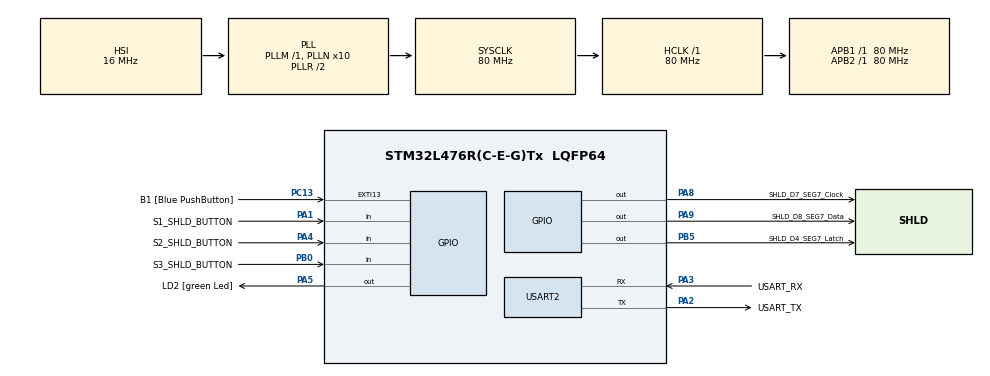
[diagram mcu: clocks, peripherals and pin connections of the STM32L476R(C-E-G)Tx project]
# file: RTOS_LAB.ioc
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FREERTOS.Mutexes01=Mutex01,Dynamic,NULL
FREERTOS.Queues01=customerQueue,421,uint64_t,0,Dynamic,NULL,NULL
FREERTOS.Tasks01=updateSegment,32,128,StartUpdateSegment,Default,NULL,Dynamic,NULL,NULL;genCustomer,48,128,StartGenCustomerTask,Default,NULL,Dynamic,NULL,NULL;teller01,48,128,StartTeller01,Default,NULL,Dynamic,NULL,NULL;teller02,48,128,StartTeller02,Default,NULL,Dynamic,NULL,NULL;teller03,48,128,StartTeller03,Default,NULL,Dynamic,NULL,NULL;simMonitorInfo,24,128,StartSimMonitorInfo,Default,NULL,Dynamic,NULL,NULL
FREERTOS.configTOTAL_HEAP_SIZE=10000
FREERTOS.configUSE_IDLE_HOOK=1
FREERTOS.configUSE_NEWLIB_REENTRANT=1
Mcu.Family=STM32L4
Mcu.Name=STM32L476R(C-E-G)Tx
Mcu.Package=LQFP64
NVIC.PriorityGroup=NVIC_PRIORITYGROUP_4
NVIC.TIM6_DAC_IRQn=true\:15\:0\:false\:false\:true\:false\:false\:true\:true
NVIC.TimeBase=TIM6_DAC_IRQn
NVIC.TimeBaseIP=TIM6
PA1.GPIO_Label=S1_SHLD_BUTTON
PA1.GPIO_PuPd=GPIO_PULLUP
PA1.Signal=GPIO_Input
PA13\ (JTMS-SWDIO).GPIO_Label=TMS
PA13\ (JTMS-SWDIO).Mode=Serial_Wire
PA13\ (JTMS-SWDIO).Signal=SYS_JTMS-SWDIO
PA14\ (JTCK-SWCLK).GPIO_Label=TCK
PA14\ (JTCK-SWCLK).Mode=Serial_Wire
PA14\ (JTCK-SWCLK).Signal=SYS_JTCK-SWCLK
PA2.GPIO_Label=USART_TX
PA2.GPIO_Mode=GPIO_MODE_AF_PP
PA2.GPIO_PuPd=GPIO_NOPULL
PA2.GPIO_Speed=GPIO_SPEED_FREQ_VERY_HIGH
PA2.Mode=Asynchronous
PA2.Signal=USART2_TX
PA3.GPIO_Label=USART_RX
PA3.GPIO_Mode=GPIO_MODE_AF_PP
PA3.GPIO_PuPd=GPIO_NOPULL
PA3.GPIO_Speed=GPIO_SPEED_FREQ_VERY_HIGH
PA3.Mode=Asynchronous
PA3.Signal=USART2_RX
PA4.GPIO_Label=S2_SHLD_BUTTON
PA4.GPIO_PuPd=GPIO_PULLUP
PA4.Signal=GPIO_Input
PA5.GPIO_Label=LD2 [green Led]
PA5.GPIO_ModeDefaultOutputPP=GPIO_MODE_OUTPUT_PP
PA5.GPIO_PuPd=GPIO_NOPULL
PA5.GPIO_Speed=GPIO_SPEED_FREQ_LOW
PA5.Signal=GPIO_Output
PA8.GPIO_Label=SHLD_D7_SEG7_Clock
PA8.GPIO_Speed=GPIO_SPEED_FREQ_MEDIUM
PA8.Signal=GPIO_Output
PA9.GPIO_Label=SHLD_D8_SEG7_Data
PA9.GPIO_Speed=GPIO_SPEED_FREQ_MEDIUM
PA9.Signal=GPIO_Output
PB0.GPIO_Label=S3_SHLD_BUTTON
PB0.GPIO_PuPd=GPIO_PULLUP
PB0.Signal=GPIO_Input
PB3\ (JTDO-TRACESWO).GPIO_Label=SWO
PB3\ (JTDO-TRACESWO).Signal=SYS_JTDO-SWO
PB5.GPIO_Label=SHLD_D4_SEG7_Latch
PB5.GPIO_Speed=GPIO_SPEED_FREQ_MEDIUM
PB5.Signal=GPIO_Output
PC13.GPIO_Label=B1 [Blue PushButton]
PC13.GPIO_ModeDefaultEXTI=GPIO_MODE_IT_FALLING
PC13.GPIO_PuPd=GPIO_NOPULL
PC13.Signal=GPXTI13
PC14-OSC32_IN\ (PC14).Mode=LSE-External-Oscillator
PC14-OSC32_IN\ (PC14).Signal=RCC_OSC32_IN
PC15-OSC32_OUT\ (PC15).Mode=LSE-External-Oscillator
PC15-OSC32_OUT\ (PC15).Signal=RCC_OSC32_OUT
PH0-OSC_IN\ (PH0).Signal=RCC_OSC_IN
PH1-OSC_OUT\ (PH1).Signal=RCC_OSC_OUT
ProjectManager.HeapSize=0x200
ProjectManager.StackSize=0x400
ProjectManager.TargetToolchain=STM32CubeIDE
RCC.ADCFreq_Value=64000000
RCC.AHBFreq_Value=80000000
RCC.APB1Freq_Value=80000000
RCC.APB1TimFreq_Value=80000000
RCC.APB2Freq_Value=80000000
RCC.APB2TimFreq_Value=80000000
RCC.CortexFreq_Value=80000000
RCC.HCLKFreq_Value=80000000
RCC.HSE_VALUE=8000000
RCC.HSI_VALUE=16000000
RCC.MSI_VALUE=4000000
RCC.PLLN=10
RCC.PLLSourceVirtual=RCC_PLLSOURCE_HSI
RCC.PREFETCH_ENABLE=1
RCC.SYSCLKFreq_VALUE=80000000
RCC.SYSCLKSource=RCC_SYSCLKSOURCE_PLLCLK
RCC.USBFreq_Value=64000000
RCC.VCOOutputFreq_Value=160000000
USART2.VirtualMode-Asynchronous=VM_ASYNC
VP_FREERTOS_VS_CMSIS_V2.Mode=CMSIS_V2
VP_SYS_VS_tim6.Mode=TIM6
VP_TIM2_VS_ClockSourceINT.Mode=Internal
board=NUCLEO-L476RG

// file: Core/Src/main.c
/* USER CODE BEGIN Header */
/**
  ******************************************************************************
  * @file           : main.c
  * @brief          : Main program body
  ******************************************************************************
  * @attention
  *
  * Copyright (c) 2023 STMicroelectronics.
  * All rights reserved.
  *
  * This software is licensed under terms that can be found in the LICENSE file
  * in the root directory of this software component.
  * If no LICENSE file comes with this software, it is provided AS-IS.
  *
  ******************************************************************************
  */
/* USER CODE END Header */
#include "main.h"
#include "cmsis_os.h"

/* USER CODE BEGIN Includes */
#include <stdio.h>
#include <inttypes.h>
#include <stdbool.h>

#include "rng.h"
#include "info.h"
/* USER CODE END Includes */

/* USER CODE BEGIN PM */
#define SIM_MIN_TO_MS(minutes) ((minutes) * (100UL))
#define TIME_IN_WORK_DAY_MIN ((7*60UL))
#define TIME_IN_WORK_DAY_MS (SIM_MIN_TO_MS(TIME_IN_WORK_DAY_MIN))

#define MS_TO_SIM_SEC(ms) (((ms) * 3) / 5UL)
#define MS_TO_SIM_MIN(ms) ((ms) / 100UL)
#define MS_TO_SIM_HOURS(ms) ((ms) / (100*60UL))

#define TELLER01_FORCE_BREAK_BUTTON_PORT (S1_SHLD_BUTTON_GPIO_Port)
#define TELLER02_FORCE_BREAK_BUTTON_PORT (S2_SHLD_BUTTON_GPIO_Port)
#define TELLER03_FORCE_BREAK_BUTTON_PORT (S3_SHLD_BUTTON_GPIO_Port)

#define TELLER01_FORCE_BREAK_BUTTON_PIN (S1_SHLD_BUTTON_Pin)
#define TELLER02_FORCE_BREAK_BUTTON_PIN (S2_SHLD_BUTTON_Pin)
#define TELLER03_FORCE_BREAK_BUTTON_PIN (S3_SHLD_BUTTON_Pin)

#define FORCE_BREAK_BUTTON_PRESSED (GPIO_PIN_RESET)

#define NUM_SEGMENT_DIGITS (4)

#define MAX(a,b) \
	({ __typeof__ (a) _a = (a); \
	   __typeof__ (b) _b = (b); \
	 _a > _b ? _a : _b; })

#define MIN(a,b) \
	({ __typeof__ (a) _a = (a); \
	   __typeof__ (b) _b = (b); \
	 _a < _b ? _a : _b; })

/* USER CODE END PM */

TIM_HandleTypeDef htim2;

UART_HandleTypeDef huart2;

/* Definitions for updateSegment */
osThreadId_t updateSegmentHandle;
const osThreadAttr_t updateSegment_attributes = {
  .name = "updateSegment",
  .stack_size = 128 * 4,
  .priority = (osPriority_t) osPriorityAboveNormal,
};
/* Definitions for genCustomer */
osThreadId_t genCustomerHandle;
const osThreadAttr_t genCustomer_attributes = {
  .name = "genCustomer",
  .stack_size = 128 * 4,
  .priority = (osPriority_t) osPriorityRealtime,
};
/* Definitions for teller01 */
osThreadId_t teller01Handle;
const osThreadAttr_t teller01_attributes = {
  .name = "teller01",
  .stack_size = 128 * 4,
  .priority = (osPriority_t) osPriorityRealtime,
};
/* Definitions for teller02 */
osThreadId_t teller02Handle;
const osThreadAttr_t teller02_attributes = {
  .name = "teller02",
  .stack_size = 128 * 4,
  .priority = (osPriority_t) osPriorityRealtime,
};
/* Definitions for teller03 */
osThreadId_t teller03Handle;
const osThreadAttr_t teller03_attributes = {
  .name = "teller03",
  .stack_size = 128 * 4,
  .priority = (osPriority_t) osPriorityRealtime,
};
/* Definitions for simMonitorInfo */
osThreadId_t simMonitorInfoHandle;
const osThreadAttr_t simMonitorInfo_attributes = {
  .name = "simMonitorInfo",
  .stack_size = 128 * 4,
  .priority = (osPriority_t) osPriorityNormal,
};
/* Definitions for customerQueue */
osMessageQueueId_t customerQueueHandle;
const osMessageQueueAttr_t customerQueue_attributes = {
  .name = "customerQueue"
};
/* Definitions for Mutex01 */
osMutexId_t Mutex01Handle;
const osMutexAttr_t Mutex01_attributes = {
  .name = "Mutex01"
};
/* USER CODE BEGIN PV */
bool work_is_done = false;

uint32_t SIMULATED_TIME_START;

// 7-segment display digits.
const uint8_t SEGMENT_DIGIT[4] = {
		0b00001000, // Rightmost
		0b00000100, // Left of rightmost
		0b00000010, // Right of leftmost
		0b00000001	// Leftmost
};

// Display a single digit number.
const uint8_t SEGMENT_NUM[10] = {
		0b11000000, // 0
		0b11111001, // 1
		0b10100100, // 2
		0b10110000, // 3
		0b10011001, // 4
		0b10010010, // 5
		0b10000010, // 6
		0b11111000, // 7
		0b10000000, // 8
		0b10010000  // 9
};

// Converts teller's status to a string for display purposes.
const char* STATUS_TO_STR[5] = {"working", "waiting", "on break", "done for the day", "didn't show up..."};

// Stores all info related to tellers.
TELLER_INFO teller01_info;
TELLER_INFO teller02_info;
TELLER_INFO teller03_info;

// Used by monitor task.
uint8_t monitor_buffer[500];
int monitor_data_size;

/* USER CODE END PV */

void SystemClock_Config(void);
static void MX_GPIO_Init(void);
static void MX_USART2_UART_Init(void);
static void MX_TIM2_Init(void);
void StartUpdateSegment(void *argument);
void StartGenCustomerTask(void *argument);
void StartTeller01(void *argument);
void StartTeller02(void *argument);
void StartTeller03(void *argument);
void StartSimMonitorInfo(void *argument);

/* USER CODE BEGIN PFP */
void teller_functionality(TELLER_INFO* teller_info, osThreadId_t tellerHandler, GPIO_TypeDef* TELLER_GPIO_PORT, uint16_t TELLER_GPIO_PIN);
/* USER CODE END PFP */

/* USER CODE BEGIN 0 */

/**
* @brief Sets 7-segment pin values using a shift register.
*
* @param data_port: The port of the GPIO pin associated with the data of the display.
* @param data_pin: The GPIO data pin.
* @param clock_port: The port of the GPIO pin associated with the clock used to operate shift register.
* @param clock_pin: The GPIO clock pin.
* @param value: The value to shift into the data pin.
* @retval None
*/
static inline void shiftOut(GPIO_TypeDef* data_port, uint16_t data_pin, GPIO_TypeDef* clock_port, uint16_t clock_pin, uint8_t value) {
	for(int ii=0x80; ii; ii>>=1) {
		HAL_GPIO_WritePin(clock_port, clock_pin, GPIO_PIN_RESET);
		HAL_GPIO_WritePin(data_port, data_pin, (value&ii)!=0);
		HAL_GPIO_WritePin(clock_port, clock_pin, GPIO_PIN_SET);
	}
}

/**
* @brief Helper function which activates appropriate segments for a particular digit in the 7-segment display.
*
* @param digit: The digit to set (four in total)	.
* @param value: The value to set.
* @retval None
*/
static inline void set_segment_digit(uint8_t digit, uint8_t value)
{
	HAL_GPIO_WritePin(SHLD_D4_SEG7_Latch_GPIO_Port, SHLD_D4_SEG7_Latch_Pin, GPIO_PIN_RESET);
	shiftOut(SHLD_D8_SEG7_Data_GPIO_Port, SHLD_D8_SEG7_Data_Pin, SHLD_D7_SEG7_Clock_GPIO_Port, SHLD_D7_SEG7_Clock_Pin, value);
	shiftOut(SHLD_D8_SEG7_Data_GPIO_Port, SHLD_D8_SEG7_Data_Pin, SHLD_D7_SEG7_Clock_GPIO_Port, SHLD_D7_SEG7_Clock_Pin, digit);
	HAL_GPIO_WritePin(SHLD_D4_SEG7_Latch_GPIO_Port, SHLD_D4_SEG7_Latch_Pin, GPIO_PIN_SET);
}

/*
* @brief Sets the 7-segment display value.
*
* @param num: The four digit number to set the display to (MAX: 9999).
* @retval None
*/
void set_segment_display(uint16_t num)
{
	uint8_t digit = 0;
	uint8_t value;
	while(digit < NUM_SEGMENT_DIGITS)
	{
		value = num % 10;
		set_segment_digit(SEGMENT_DIGIT[digit], SEGMENT_NUM[value]);
		num /= 10;
		digit++;
	}
	set_segment_digit(0, 0);
}

/* USER CODE END 0 */

int main(void)
{

  /* MCU Configuration--------------------------------------------------------*/

  /* Reset of all peripherals, Initializes the Flash interface and the Systick. */
  HAL_Init();

  /* USER CODE BEGIN Init */

  // Initialize tellers
  init_teller(&teller01_info);
  init_teller(&teller02_info);
  init_teller(&teller03_info);

  /* USER CODE END Init */

  /* Configure the system clock */
  SystemClock_Config();

  /* Initialize all configured peripherals */
  MX_GPIO_Init();
  MX_USART2_UART_Init();
  MX_TIM2_Init();

  /* Init scheduler */
  osKernelInitialize();
  /* Create the mutex(es) */
  /* creation of Mutex01 */
  Mutex01Handle = osMutexNew(&Mutex01_attributes);

  /* Create the queue(s) */
  /* creation of customerQueue */
  customerQueueHandle = osMessageQueueNew (421, sizeof(uint64_t), &customerQueue_attributes);

  /* Create the thread(s) */
  /* creation of updateSegment */
  updateSegmentHandle = osThreadNew(StartUpdateSegment, NULL, &updateSegment_attributes);

  /* creation of genCustomer */
  genCustomerHandle = osThreadNew(StartGenCustomerTask, NULL, &genCustomer_attributes);

  /* creation of teller01 */
  teller01Handle = osThreadNew(StartTeller01, NULL, &teller01_attributes);

  /* creation of teller02 */
  teller02Handle = osThreadNew(StartTeller02, NULL, &teller02_attributes);

  /* creation of teller03 */
  teller03Handle = osThreadNew(StartTeller03, NULL, &teller03_attributes);

  /* creation of simMonitorInfo */
  simMonitorInfoHandle = osThreadNew(StartSimMonitorInfo, NULL, &simMonitorInfo_attributes);

  /* USER CODE BEGIN RTOS_THREADS */
  /* add threads, ... */

  // Grab reference point to get an accurate reading of simulated time.
  SIMULATED_TIME_START = HAL_GetTick();

  /* ----- SUSPEND THREADS -----*/
//  osThreadSuspend(genCustomerHandle);
//  osThreadSuspend(teller01Handle);
//  osThreadSuspend(teller02Handle);
//  osThreadSuspend(teller03Handle);
//  osThreadSuspend(updateSegmentHandle);
//  osThreadSuspend(simMonitorInfoHandle);

  /* USER CODE END RTOS_THREADS */

  /* Start scheduler */
  osKernelStart();

  /* We should never get here as control is now taken by the scheduler */
  /* Infinite loop */
  while (1)
  {

  }
}

void SystemClock_Config(void)
{
  RCC_OscInitTypeDef RCC_OscInitStruct = {0};
  RCC_ClkInitTypeDef RCC_ClkInitStruct = {0};

  /** Configure the main internal regulator output voltage
  */
  if (HAL_PWREx_ControlVoltageScaling(PWR_REGULATOR_VOLTAGE_SCALE1) != HAL_OK)
  {
    Error_Handler();
  }

  /** Initializes the RCC Oscillators according to the specified parameters
  * in the RCC_OscInitTypeDef structure.
  */
  RCC_OscInitStruct.OscillatorType = RCC_OSCILLATORTYPE_HSI;
  RCC_OscInitStruct.HSIState = RCC_HSI_ON;
  RCC_OscInitStruct.HSICalibrationValue = RCC_HSICALIBRATION_DEFAULT;
  RCC_OscInitStruct.PLL.PLLState = RCC_PLL_ON;
  RCC_OscInitStruct.PLL.PLLSource = RCC_PLLSOURCE_HSI;
  RCC_OscInitStruct.PLL.PLLM = 1;
  RCC_OscInitStruct.PLL.PLLN = 10;
  RCC_OscInitStruct.PLL.PLLP = RCC_PLLP_DIV7;
  RCC_OscInitStruct.PLL.PLLQ = RCC_PLLQ_DIV2;
  RCC_OscInitStruct.PLL.PLLR = RCC_PLLR_DIV2;
  if (HAL_RCC_OscConfig(&RCC_OscInitStruct) != HAL_OK)
  {
    Error_Handler();
  }

  /** Initializes the CPU, AHB and APB buses clocks
  */
  RCC_ClkInitStruct.ClockType = RCC_CLOCKTYPE_HCLK|RCC_CLOCKTYPE_SYSCLK
                              |RCC_CLOCKTYPE_PCLK1|RCC_CLOCKTYPE_PCLK2;
  RCC_ClkInitStruct.SYSCLKSource = RCC_SYSCLKSOURCE_PLLCLK;
  RCC_ClkInitStruct.AHBCLKDivider = RCC_SYSCLK_DIV1;
  RCC_ClkInitStruct.APB1CLKDivider = RCC_HCLK_DIV1;
  RCC_ClkInitStruct.APB2CLKDivider = RCC_HCLK_DIV1;

  if (HAL_RCC_ClockConfig(&RCC_ClkInitStruct, FLASH_LATENCY_4) != HAL_OK)
  {
    Error_Handler();
  }
}

static void MX_TIM2_Init(void)
{

  TIM_ClockConfigTypeDef sClockSourceConfig = {0};
  TIM_MasterConfigTypeDef sMasterConfig = {0};

  htim2.Instance = TIM2;
  htim2.Init.Prescaler = 0;
  htim2.Init.CounterMode = TIM_COUNTERMODE_UP;
  htim2.Init.Period = 4294967295;
  htim2.Init.ClockDivision = TIM_CLOCKDIVISION_DIV1;
  htim2.Init.AutoReloadPreload = TIM_AUTORELOAD_PRELOAD_DISABLE;
  if (HAL_TIM_Base_Init(&htim2) != HAL_OK)
  {
    Error_Handler();
  }
  sClockSourceConfig.ClockSource = TIM_CLOCKSOURCE_INTERNAL;
  if (HAL_TIM_ConfigClockSource(&htim2, &sClockSourceConfig) != HAL_OK)
  {
    Error_Handler();
  }
  sMasterConfig.MasterOutputTrigger = TIM_TRGO_RESET;
  sMasterConfig.MasterSlaveMode = TIM_MASTERSLAVEMODE_DISABLE;
  if (HAL_TIMEx_MasterConfigSynchronization(&htim2, &sMasterConfig) != HAL_OK)
  {
    Error_Handler();
  }

}

static void MX_USART2_UART_Init(void)
{

  huart2.Instance = USART2;
  huart2.Init.BaudRate = 115200;
  huart2.Init.WordLength = UART_WORDLENGTH_8B;
  huart2.Init.StopBits = UART_STOPBITS_1;
  huart2.Init.Parity = UART_PARITY_NONE;
  huart2.Init.Mode = UART_MODE_TX_RX;
  huart2.Init.HwFlowCtl = UART_HWCONTROL_NONE;
  huart2.Init.OverSampling = UART_OVERSAMPLING_16;
  huart2.Init.OneBitSampling = UART_ONE_BIT_SAMPLE_DISABLE;
  huart2.AdvancedInit.AdvFeatureInit = UART_ADVFEATURE_NO_INIT;
  if (HAL_UART_Init(&huart2) != HAL_OK)
  {
    Error_Handler();
  }

}

static void MX_GPIO_Init(void)
{
  GPIO_InitTypeDef GPIO_InitStruct = {0};

  /* GPIO Ports Clock Enable */
  __HAL_RCC_GPIOC_CLK_ENABLE();
  __HAL_RCC_GPIOH_CLK_ENABLE();
  __HAL_RCC_GPIOA_CLK_ENABLE();
  __HAL_RCC_GPIOB_CLK_ENABLE();

  /*Configure GPIO pin Output Level */
  HAL_GPIO_WritePin(GPIOA, LD2_Pin|SHLD_D7_SEG7_Clock_Pin|SHLD_D8_SEG7_Data_Pin, GPIO_PIN_RESET);

  /*Configure GPIO pin Output Level */
  HAL_GPIO_WritePin(SHLD_D4_SEG7_Latch_GPIO_Port, SHLD_D4_SEG7_Latch_Pin, GPIO_PIN_RESET);

  /*Configure GPIO pin : B1_Pin */
  GPIO_InitStruct.Pin = B1_Pin;
  GPIO_InitStruct.Mode = GPIO_MODE_IT_FALLING;
  GPIO_InitStruct.Pull = GPIO_NOPULL;
  HAL_GPIO_Init(B1_GPIO_Port, &GPIO_InitStruct);

  /*Configure GPIO pins : S1_SHLD_BUTTON_Pin S2_SHLD_BUTTON_Pin */
  GPIO_InitStruct.Pin = S1_SHLD_BUTTON_Pin|S2_SHLD_BUTTON_Pin;
  GPIO_InitStruct.Mode = GPIO_MODE_INPUT;
  GPIO_InitStruct.Pull = GPIO_PULLUP;
  HAL_GPIO_Init(GPIOA, &GPIO_InitStruct);

  /*Configure GPIO pin : LD2_Pin */
  GPIO_InitStruct.Pin = LD2_Pin;
  GPIO_InitStruct.Mode = GPIO_MODE_OUTPUT_PP;
  GPIO_InitStruct.Pull = GPIO_NOPULL;
  GPIO_InitStruct.Speed = GPIO_SPEED_FREQ_LOW;
  HAL_GPIO_Init(LD2_GPIO_Port, &GPIO_InitStruct);

  /*Configure GPIO pin : S3_SHLD_BUTTON_Pin */
  GPIO_InitStruct.Pin = S3_SHLD_BUTTON_Pin;
  GPIO_InitStruct.Mode = GPIO_MODE_INPUT;
  GPIO_InitStruct.Pull = GPIO_PULLUP;
  HAL_GPIO_Init(S3_SHLD_BUTTON_GPIO_Port, &GPIO_InitStruct);

  /*Configure GPIO pins : SHLD_D7_SEG7_Clock_Pin SHLD_D8_SEG7_Data_Pin */
  GPIO_InitStruct.Pin = SHLD_D7_SEG7_Clock_Pin|SHLD_D8_SEG7_Data_Pin;
  GPIO_InitStruct.Mode = GPIO_MODE_OUTPUT_PP;
  GPIO_InitStruct.Pull = GPIO_NOPULL;
  GPIO_InitStruct.Speed = GPIO_SPEED_FREQ_MEDIUM;
  HAL_GPIO_Init(GPIOA, &GPIO_InitStruct);

  /*Configure GPIO pin : SHLD_D4_SEG7_Latch_Pin */
  GPIO_InitStruct.Pin = SHLD_D4_SEG7_Latch_Pin;
  GPIO_InitStruct.Mode = GPIO_MODE_OUTPUT_PP;
  GPIO_InitStruct.Pull = GPIO_NOPULL;
  GPIO_InitStruct.Speed = GPIO_SPEED_FREQ_MEDIUM;
  HAL_GPIO_Init(SHLD_D4_SEG7_Latch_GPIO_Port, &GPIO_InitStruct);

}

/* USER CODE BEGIN 4 */

/**
* @brief Implements the teller's functionality as described in the lab outline.
*
* @param teller_info: Data structure holding information about the teller - used to calculate statistics later.
* @param tellerHandler: Handler for the task responsible for the specific instance of teller.
* @param TELLER_GPIO_PORT: The port of the GPIO pin which controls the forced break functionality.
* @param TELLER_GPIO_PIN: The GPIO pin which holds the value of the forced break button.n.
* @retval None
*/
void teller_functionality(TELLER_INFO* teller_info, osThreadId_t tellerHandler, GPIO_TypeDef* TELLER_GPIO_PORT, uint16_t TELLER_GPIO_PIN)
{
	CUSTOMER_INFO current_customer;
	uint32_t customer_time_spent_in_queue;
	uint32_t break_time;
	uint32_t forced_break_start_time;

	uint32_t pre_wait_reference;
	uint32_t wait_discrepancy;
	uint32_t natural_break_start_time;

	for(;;)
	{
		// Teller starts working.
		teller_info->status = status_working;

		// Stop teller when the day ends.
		if((osMessageQueueGetCount(customerQueueHandle) == 0) && (HAL_GetTick() >= (TIME_IN_WORK_DAY_MS + SIMULATED_TIME_START)))
		{
			teller_info->status = status_done_for_the_day;
			osThreadSuspend(tellerHandler);
		}

		/* --- First step is to obtain a customer --- */

		// [A: 1/2] We assume the teller will have to wait for a customer...
		teller_info->status = status_waiting;

		// [A: 2/2] ...so we grab a reference snapshot of the current time to calculate total wait later.
		pre_wait_reference = HAL_GetTick();

		// Attempt to grab the next customer from the queue.
		osMessageQueueGet(customerQueueHandle, &current_customer, 0, osWaitForever);

		// If the teller was able to unblock, it means a customer was successfully obtained -> teller is no longer waiting
		wait_discrepancy = HAL_GetTick() - pre_wait_reference;
		teller_info->status = status_working;

		// This is time the customer had to wait in the queue before being serviced.
		customer_time_spent_in_queue = HAL_GetTick() - current_customer.time_entered_queue;

		// [B: 1/2] If the time discrepancy is too high, it probably means the teller had to wait...
		if(wait_discrepancy > TELLER_WAIT_TOLERANCE)
		{
			// [B: 2/2] ...so update the teller's wait statistics.
			teller_info->total_wait_time += (wait_discrepancy - TELLER_WAIT_TOLERANCE);
			teller_info->total_waits_taken++;
			teller_info->max_wait_time = MAX(teller_info->max_wait_time, (wait_discrepancy - TELLER_WAIT_TOLERANCE));
		}

		/* --- Move on to process customer --- */

		// Record statistic about customer.
		teller_info->total_customers_serviced++;
		teller_info->total_service_time += current_customer.service_time;
		teller_info->max_service_time = MAX(teller_info->max_service_time, current_customer.service_time);

		// Access global variables to update customer queue time statistics.
		osMutexAcquire(Mutex01Handle, osWaitForever);
		max_customer_queue_time = MAX(max_customer_queue_time, customer_time_spent_in_queue);
		total_customer_queue_time += customer_time_spent_in_queue;
		osMutexRelease(Mutex01Handle);

		// Simulate time spent servicing customer.
		osDelay(current_customer.service_time);
		bool natural_break_flag = false;

		/* --- Check for breaks only after finishing with a customer --- */
		if(HAL_GetTick() >= teller_info->next_available_natural_break_time){ // natural break
		  natural_break_flag = true;
		  // Generate a random break duration and update statistics.
		  break_time = rand_range(MIN_TELLER_BREAK_TIME, MAX_TELLER_BREAK_TIME);

		  // Generate next available break.
		  teller_info->next_available_natural_break_time = HAL_GetTick() + rand_range(MIN_TELLER_BREAK_WAIT, MAX_TELLER_BREAK_WAIT);

		  // Go on break.
		  teller_info->status = status_on_break;
		  natural_break_start_time = HAL_GetTick();
		  uint32_t natural_break_end_time = natural_break_start_time + break_time;
		  while(HAL_GetTick() < natural_break_end_time && HAL_GPIO_ReadPin(TELLER_GPIO_PORT, TELLER_GPIO_PIN) != FORCE_BREAK_BUTTON_PRESSED){
			osDelay(1); //
		  }
		  if(HAL_GetTick() >= natural_break_end_time){
			//finished natural break
			natural_break_flag = false;
			teller_info->max_break_time = MAX(teller_info->max_break_time, break_time);
			teller_info->min_break_time = MIN(teller_info->min_break_time, break_time);
			teller_info->total_break_time += break_time;
			teller_info->total_breaks_taken++;
			teller_info->status = status_working;
		  }
		}
		// Forced break
		if(HAL_GPIO_ReadPin(TELLER_GPIO_PORT, TELLER_GPIO_PIN) == FORCE_BREAK_BUTTON_PRESSED)
		{
		  // Grab reference point
		  forced_break_start_time = HAL_GetTick();
		  teller_info->status = status_on_break;

		  // Stay until the forced break is released
		  while(HAL_GPIO_ReadPin(TELLER_GPIO_PORT, TELLER_GPIO_PIN) == FORCE_BREAK_BUTTON_PRESSED)
		  {
			osDelay(1);
		  }

		  // Break ends.
		  teller_info->status = status_working;

		  // [C: 1/2] Calculate break time and updated statistics...
		  if(natural_break_flag == false){
			break_time = HAL_GetTick() - forced_break_start_time;
			teller_info->max_break_time = MAX(teller_info->max_break_time, break_time);
			teller_info->min_break_time = MIN(teller_info->min_break_time, break_time);
			teller_info->total_break_time += break_time;
			teller_info->total_breaks_taken++;
		  }
		  else{
			natural_break_flag = false;
			break_time = HAL_GetTick() - natural_break_start_time;
			teller_info->max_break_time = MAX(teller_info->max_break_time, break_time);
			teller_info->min_break_time = MIN(teller_info->min_break_time, break_time);
			teller_info->total_break_time += break_time;
			teller_info->total_breaks_taken++;
			teller_info->status = status_working;

		  }

		  // [C: 2/2] ...teller was just on break, so recalculate next available natural break time
		  teller_info->next_available_natural_break_time = HAL_GetTick() + rand_range(MIN_TELLER_BREAK_WAIT, MAX_TELLER_BREAK_WAIT);

		} // break end

	}
}
/* USER CODE END 4 */

/* USER CODE BEGIN Header_StartUpdateSegment */
/**
* @brief Function implementing the updateSegment thread. Displays the current customers queue count on the 7-segment display.
* @param argument: Not used
* @retval None
*/
/* USER CODE END Header_StartUpdateSegment */
void StartUpdateSegment(void *argument)
{
  /* USER CODE BEGIN 5 */
  /* Infinite loop */
  for(;;)
  {
	// Stop generator when the day ends and all work is done.
	bool work_is_done = (osMessageQueueGetCount(customerQueueHandle) == 0) &&
						((eTaskGetState(teller01Handle) == eSuspended) ||
	  					(eTaskGetState(teller02Handle) == eSuspended) ||
						(eTaskGetState(teller03Handle) == eSuspended));

	if(work_is_done && (HAL_GetTick() >= (TIME_IN_WORK_DAY_MS + SIMULATED_TIME_START)))
	{
		osThreadSuspend(updateSegmentHandle);
	}

	// [A: 1/2] Constantly update the 7-segment display...
	set_segment_display(osMessageQueueGetCount(customerQueueHandle));

	// [A: 2/2] ... need short delay for display to stay updated properly.
    osDelay(1);
  }
  /* USER CODE END 5 */
}

/* USER CODE BEGIN Header_StartGenCustomerTask */
/**
* @brief Function implementing the genCustomer thread. Generates customers at intervals specified by the lab outline and
* 	captures statistics needed for later report.
* @param argument: Not used
* @retval None
*/
/* USER CODE END Header_StartGenCustomerTask */
void StartGenCustomerTask(void *argument)
{
  /* USER CODE BEGIN StartGenCustomerTask */

  uint32_t delay_until_next_customer_arrival;
  CUSTOMER_INFO customer_template;

  /* Infinite loop */
  for(;;)
  {
	// Stop generator when the day ends.

	if(HAL_GetTick() >= (TIME_IN_WORK_DAY_MS + SIMULATED_TIME_START))
	{
		osThreadSuspend(genCustomerHandle);
	}

	// New customer arrives after a random time within a set interval.
	delay_until_next_customer_arrival = rand_range(MIN_CUSTOMER_ARRIVAL_DELAY, MAX_CUSTOMER_ARRIVAL_DELAY);

	// Generate a new customer with randomized service time.
	reset_and_init_customer(&customer_template);

	// Send customer to queue to be picked up by tellers.
	osMessageQueuePut(customerQueueHandle, &customer_template, 0U, osWaitForever);

	// Record queue statistics.
	max_customer_queue_depth = MAX(max_customer_queue_depth, osMessageQueueGetCount(customerQueueHandle));

	// Simulate time between customers.
	osDelay(delay_until_next_customer_arrival);
  }

  /* USER CODE END StartGenCustomerTask */
}

/* USER CODE BEGIN Header_StartTeller01 */
/**
* @brief Function implementing the teller01 thread. Shares functionality with other tellers.
* @param argument: Not used
* @retval None
*/
/* USER CODE END Header_StartTeller01 */
void StartTeller01(void *argument)
{
  /* USER CODE BEGIN StartTeller01 */
  /* Infinite loop */

  // All tellers share the same functionality.
  teller_functionality(&teller01_info, teller01Handle, TELLER01_FORCE_BREAK_BUTTON_PORT, TELLER01_FORCE_BREAK_BUTTON_PIN);

  /* USER CODE END StartTeller01 */
}

/* USER CODE BEGIN Header_StartTeller02 */
/**
* @brief Function implementing the teller02 thread. Shares functionality with other tellers.
* @param argument: Not used
* @retval None
*/
/* USER CODE END Header_StartTeller02 */
void StartTeller02(void *argument)
{
  /* USER CODE BEGIN StartTeller02 */
  /* Infinite loop */

  // All tellers share the same functionality.
  teller_functionality(&teller02_info, teller02Handle, TELLER02_FORCE_BREAK_BUTTON_PORT, TELLER02_FORCE_BREAK_BUTTON_PIN);

  /* USER CODE END StartTeller02 */
}

/* USER CODE BEGIN Header_StartTeller03 */
/**
* @brief Function implementing the teller03 thread. Shares functionality with other tellers.
* @param argument: Not used
* @retval None
*/
/* USER CODE END Header_StartTeller03 */
void StartTeller03(void *argument)
{
  /* USER CODE BEGIN StartTeller03 */
  /* Infinite loop */

  // All tellers share the same functionality.
  teller_functionality(&teller03_info, teller03Handle, TELLER03_FORCE_BREAK_BUTTON_PORT, TELLER03_FORCE_BREAK_BUTTON_PIN);

  /* USER CODE END StartTeller03 */
}

/* USER CODE BEGIN Header_StartSimMonitorInfo */
/**
* @brief Function implementing the simMonitorInfo thread. Prints real time info about the status of tellers and customer queue to the
* 	display. Also is responsible for generating the statistics report at the end of the day.
* @param argument: Not used
* @retval None
*/
/* USER CODE END Header_StartSimMonitorInfo */
void StartSimMonitorInfo(void *argument)
{
  /* USER CODE BEGIN StartSimMonitorInfo */
  /* Infinite loop */
  uint32_t sim_min;
  uint32_t sim_hours;
  uint32_t current_time_ms;

  const char* teller01_info_str;
  const char* teller02_info_str;
  const char* teller03_info_str;

  uint32_t total_customers_served;
  uint32_t total_service_time;
  uint32_t total_wait_time;
  uint32_t total_num_waits;

  for(;;)
  {
	current_time_ms = HAL_GetTick();

	sim_hours = MS_TO_SIM_HOURS(current_time_ms);
	sim_min = MS_TO_SIM_MIN(current_time_ms);

	teller01_info_str = STATUS_TO_STR[teller01_info.status];
	teller02_info_str = STATUS_TO_STR[teller02_info.status];
	teller03_info_str = STATUS_TO_STR[teller03_info.status];

	max_customer_queue_depth = MAX(max_customer_queue_depth, osMessageQueueGetCount(customerQueueHandle));

	// [A: 1/2] Build up the real time data...
	monitor_data_size = sprintf((char*)monitor_buffer, "\r\n\r\nCURRENT TIME: %02ld:%02ld%s\r\nCustomers in queue: %ld\r\nTeller01[%d] status: %s\r\nTeller02[%d] status: %s\r\nTeller03[%d] status: %s\r\n\r\n\r\n",
															(((sim_hours + 8) % 12) + 1),
															(sim_min % 60),
															(((sim_hours + 9) % 24) < 12 ? "am" : "pm"),
															osMessageQueueGetCount(customerQueueHandle),
															teller01_info.total_customers_serviced,
															teller01_info_str,
															teller02_info.total_customers_serviced,
															teller02_info_str,
															teller03_info.total_customers_serviced,
															teller03_info_str);

	// [A: 2/2] ... and print it.
	HAL_UART_Transmit(&huart2, monitor_buffer, monitor_data_size, 100U);

	// Work is done when there are no more customers in the queue and all of the tellers are done working.
	bool work_is_done = (osMessageQueueGetCount(customerQueueHandle) == 0) &&
							((eTaskGetState(teller01Handle) == eSuspended) ||
		  					(eTaskGetState(teller02Handle) == eSuspended) ||
							(eTaskGetState(teller03Handle) == eSuspended));

	// Stop when the day ends and all work is done.
	if(work_is_done && (HAL_GetTick() >= (TIME_IN_WORK_DAY_MS + SIMULATED_TIME_START)))
	{
		/* --- At the end of the day, gather all statistics --- */

		monitor_data_size = sprintf((char*)monitor_buffer, "---- WORK DAY STATISTICS ----\r\n\r\n");
		HAL_UART_Transmit(&huart2, monitor_buffer, monitor_data_size, 100U);

		// The total number of customers served during the day.
		total_customers_served = teller01_info.total_customers_serviced +
								 teller02_info.total_customers_serviced +
								 teller03_info.total_customers_serviced;

		monitor_data_size = sprintf((char*)monitor_buffer, "Total number of customers served during the day: %ld\r\n", total_customers_served);
		HAL_UART_Transmit(&huart2, monitor_buffer, monitor_data_size, 100U);

		// The number of customers served by Teller 1, by Teller 2, and by Teller 3.
		monitor_data_size = sprintf((char*)monitor_buffer, "The number of customers served by\r\n\tTeller01: %d\r\n\tTeller02: %d\r\n\tTeller03: %d\r\n",
				teller01_info.total_customers_serviced,
				teller02_info.total_customers_serviced,
				teller03_info.total_customers_serviced);

		HAL_UART_Transmit(&huart2, monitor_buffer, monitor_data_size, 100U);

		// The average time each customer spends waiting in the queue.
		monitor_data_size = sprintf((char*)monitor_buffer, "The average time each customer spends waiting in the queue: %ld seconds\r\n",
				MS_TO_SIM_SEC((total_customer_queue_time / total_customers_served)));

		HAL_UART_Transmit(&huart2, monitor_buffer, monitor_data_size, 100U);

		// The average time each customer spends with the teller.
		total_service_time = teller01_info.total_service_time +
							 teller02_info.total_service_time +
							 teller03_info.total_service_time;

		monitor_data_size = sprintf((char*)monitor_buffer, "The average time each customer spends with the teller: %ld seconds\r\n",
				MS_TO_SIM_SEC(total_service_time / total_customers_served));
		HAL_UART_Transmit(&huart2, monitor_buffer, monitor_data_size, 100U);

		// The average time tellers wait for customers.
		total_wait_time = teller01_info.total_wait_time +
						  teller02_info.total_wait_time +
						  teller03_info.total_wait_time;

		total_num_waits = teller01_info.total_waits_taken +
						  teller02_info.total_waits_taken +
						  teller03_info.total_waits_taken;

		monitor_data_size = sprintf((char*)monitor_buffer, "The average time tellers wait for customers: %ld seconds\r\n",
				MS_TO_SIM_SEC(total_wait_time / total_num_waits));
		HAL_UART_Transmit(&huart2, monitor_buffer, monitor_data_size, 100U);

		// The maximum customer wait time in the queue.
		monitor_data_size = sprintf((char*)monitor_buffer, "The maximum customer wait time in the queue: %ld seconds\r\n",
				MS_TO_SIM_SEC(max_customer_queue_time));
		HAL_UART_Transmit(&huart2, monitor_buffer, monitor_data_size, 100U);

		// The maximum wait time for tellers waiting for customers.
		monitor_data_size = sprintf((char*)monitor_buffer, "The maximum wait time for tellers waiting for customers: %ld seconds\r\n",
				MS_TO_SIM_SEC(MAX(MAX(teller01_info.max_wait_time, teller02_info.max_wait_time), teller03_info.max_wait_time)));
		HAL_UART_Transmit(&huart2, monitor_buffer, monitor_data_size, 100U);

		// The maximum transaction time for the tellers.
		monitor_data_size = sprintf((char*)monitor_buffer, "The maximum transaction time for the tellers: %ld seconds\r\n",
				MS_TO_SIM_SEC(MAX(MAX(teller01_info.max_service_time, teller02_info.max_service_time), teller03_info.max_service_time)));
		HAL_UART_Transmit(&huart2, monitor_buffer, monitor_data_size, 100U);

		// The maximum depth of the customer queue.
		monitor_data_size = sprintf((char*)monitor_buffer, "The maximum depth of the customer queue: %ld\r\n",
				max_customer_queue_depth);
		HAL_UART_Transmit(&huart2, monitor_buffer, monitor_data_size, 100U);

		// The idle hook count.
		monitor_data_size = sprintf((char*)monitor_buffer, "The idle hook count: %" PRIu64 "\r\n",
				idle_hook_count);
		HAL_UART_Transmit(&huart2, monitor_buffer, monitor_data_size, 100U);

		// Number of breaks for each of the three tellers.
		monitor_data_size = sprintf((char*)monitor_buffer, "Number of breaks for each of the three tellers\r\n\tTeller01: %d\r\n\tTeller02: %d\r\n\tTeller03: %d\r\n",
				teller01_info.total_breaks_taken,
				teller02_info.total_breaks_taken,
				teller03_info.total_breaks_taken);

		HAL_UART_Transmit(&huart2, monitor_buffer, monitor_data_size, 100U);

		// Average break time for each of the three tellers.
		monitor_data_size = sprintf((char*)monitor_buffer, "Average break time for each of the three tellers\r\n\tTeller01: %ld seconds\r\n\tTeller02: %ld seconds\r\n\tTeller03: %ld seconds\r\n",
				MS_TO_SIM_SEC(teller01_info.total_break_time / teller01_info.total_breaks_taken),
				MS_TO_SIM_SEC(teller02_info.total_break_time / teller02_info.total_breaks_taken),
				MS_TO_SIM_SEC(teller03_info.total_break_time / teller03_info.total_breaks_taken));

		HAL_UART_Transmit(&huart2, monitor_buffer, monitor_data_size, 100U);

		// Longest break time for each of the three tellers
		monitor_data_size = sprintf((char*)monitor_buffer, "Longest break time for each of the three tellers\r\n\tTeller01: %ld seconds\r\n\tTeller02: %ld seconds\r\n\tTeller03: %ld seconds\r\n",
				MS_TO_SIM_SEC(teller01_info.max_break_time),
				MS_TO_SIM_SEC(teller02_info.max_break_time),
				MS_TO_SIM_SEC(teller03_info.max_break_time));

		HAL_UART_Transmit(&huart2, monitor_buffer, monitor_data_size, 100U);

		// Shortest break time for each of the three tellers
		monitor_data_size = sprintf((char*)monitor_buffer, "Shortest break time for each of the three tellers\r\n\tTeller01: %ld seconds\r\n\tTeller02: %ld seconds\r\n\tTeller03: %ld seconds\r\n",
				MS_TO_SIM_SEC(teller01_info.min_break_time),
				MS_TO_SIM_SEC(teller02_info.min_break_time),
				MS_TO_SIM_SEC(teller03_info.min_break_time));

		HAL_UART_Transmit(&huart2, monitor_buffer, monitor_data_size, 100U);

		osThreadSuspend(simMonitorInfoHandle);
	}

	// Update monitor info every one minute of simulated time.
    osDelay(100);
  }
  /* USER CODE END StartSimMonitorInfo */
}

void HAL_TIM_PeriodElapsedCallback(TIM_HandleTypeDef *htim)
{
  if (htim->Instance == TIM6) {
    HAL_IncTick();
  }
}

void Error_Handler(void)
{
  __disable_irq();
  while (1)
  {
  }
}

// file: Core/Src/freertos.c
/* USER CODE BEGIN Header */
/**
  ******************************************************************************
  * File Name          : freertos.c
  * Description        : Code for freertos applications
  ******************************************************************************
  * @attention
  *
  * Copyright (c) 2023 STMicroelectronics.
  * All rights reserved.
  *
  * This software is licensed under terms that can be found in the LICENSE file
  * in the root directory of this software component.
  * If no LICENSE file comes with this software, it is provided AS-IS.
  *
  ******************************************************************************
  */
/* USER CODE END Header */

#include "FreeRTOS.h"
#include "task.h"
#include "main.h"

/* USER CODE BEGIN Includes */
#include "info.h"
/* USER CODE END Includes */

/* Hook prototypes */
void vApplicationIdleHook(void);

/* USER CODE BEGIN 2 */
void vApplicationIdleHook( void )
{
   /* vApplicationIdleHook() will only be called if configUSE_IDLE_HOOK is set
   to 1 in FreeRTOSConfig.h. It will be called on each iteration of the idle
   task. It is essential that code added to this hook function never attempts
   to block in any way (for example, call xQueueReceive() with a block time
   specified, or call vTaskDelay()). If the application makes use of the
   vTaskDelete() API function (as this demo application does) then it is also
   important that vApplicationIdleHook() is permitted to return to its calling
   function, because it is the responsibility of the idle task to clean up
   memory allocated by the kernel to any task that has since been deleted. */
   idle_hook_count++;
}
/* USER CODE END 2 */
